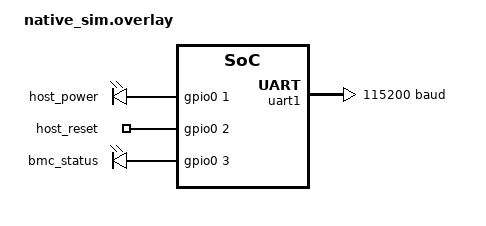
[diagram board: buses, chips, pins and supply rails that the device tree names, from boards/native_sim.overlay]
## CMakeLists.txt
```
# SPDX-FileCopyrightText: Copyright The Zephyr Project Contributors
# SPDX-License-Identifier: Apache-2.0

cmake_minimum_required(VERSION 3.20.0)

find_package(Zephyr REQUIRED HINTS $ENV{ZEPHYR_BASE})
project(bmc)

set(gen_dir ${ZEPHYR_BINARY_DIR}/include/generated)

target_sources(app PRIVATE src/main.c)
target_sources_ifdef(CONFIG_BMC_SENSORS app PRIVATE src/board.c)
target_sources_ifdef(CONFIG_BMC_REDFISH app PRIVATE src/redfish_product.c)
target_sources_ifdef(CONFIG_BMC_SAMPLE_WEB app PRIVATE src/webui.c)
target_sources_ifdef(CONFIG_BMC_SAMPLE_GENERATE_CERTS app PRIVATE src/tls.c)

# The firmware version reported over Redfish is the SHA of the tree the sample
# was built from, regenerated on every build so it cannot go stale.
find_package(Git QUIET)

set(git_sha_header ${gen_dir}/bmc_git_sha.h)
add_custom_target(bmc_git_sha ALL
  COMMAND ${CMAKE_COMMAND}
    -DGIT_EXECUTABLE=${GIT_EXECUTABLE}
    -DSOURCE_DIR=${ZEPHYR_BASE}
    -DOUTPUT_FILE=${git_sha_header}
    -P ${CMAKE_CURRENT_SOURCE_DIR}/cmake/gen_git_sha.cmake
  BYPRODUCTS ${git_sha_header}
  COMMENT "Generating the BMC git SHA header"
)
add_dependencies(app bmc_git_sha)

if(CONFIG_BMC_SAMPLE_WEB)
  foreach(web_resource IN ITEMS index.html logo.jpeg favicon.png)
    generate_inc_file_for_target(
      app
      web/${web_resource}
      ${gen_dir}/${web_resource}.gz.inc
      --gzip
    )
  endforeach()
endif()

# Browser libraries used by the dashboard. They are not redistributed with
# Zephyr, so the build picks them up from web/vendor/ once web/fetch_vendor.sh
# has downloaded them, and the dashboard degrades gracefully when they are
# missing. See web/README.md.
set(vendor_assets
  xterm.min.css
  xterm.min.js
  xterm-addon-attach.min.js
  xterm-addon-fit.min.js
  chart.umd.min.js
)

if(CONFIG_BMC_SAMPLE_WEB)
  set(vendor_dir ${CMAKE_CURRENT_SOURCE_DIR}/web/vendor)
  set(have_vendor_assets TRUE)

  foreach(asset IN LISTS vendor_assets)
    if(NOT EXISTS ${vendor_dir}/${asset})
      set(have_vendor_assets FALSE)
    endif()
  endforeach()

  if(have_vendor_assets)
    foreach(asset IN LISTS vendor_assets)
      generate_inc_file_for_target(
        app
        ${vendor_dir}/${asset}
        ${gen_dir}/${asset}.gz.inc
        --gzip
      )
    endforeach()
    zephyr_compile_definitions(BMC_SAMPLE_WEB_VENDOR_ASSETS=1)
  else()
    message(STATUS
      "BMC sample: web/vendor/ is incomplete, building the dashboard without "
      "the terminal and chart libraries. Run web/fetch_vendor.sh to get them, "
      "see web/README.md."
    )
  endif()
endif()

if(CONFIG_BMC_SAMPLE_GENERATE_CERTS)
  find_program(OPENSSL_EXECUTABLE openssl REQUIRED)
  find_program(BASH_EXECUTABLE bash REQUIRED)

  set(certs_dir ${CMAKE_CURRENT_BINARY_DIR}/generated_certs)
  set(server_cert_der ${certs_dir}/server_cert.der)
  set(server_privkey_der ${certs_dir}/server_privkey.der)

  add_custom_command(
    OUTPUT ${server_cert_der} ${server_privkey_der}
    COMMAND ${CMAKE_COMMAND} -E make_directory ${certs_dir}
    COMMAND ${BASH_EXECUTABLE} ${CMAKE_CURRENT_SOURCE_DIR}/certs/gen_ca_cert.sh
            ${OPENSSL_EXECUTABLE}
    COMMAND ${BASH_EXECUTABLE} ${CMAKE_CURRENT_SOURCE_DIR}/certs/gen_server_cert.sh
            ${OPENSSL_EXECUTABLE}
    WORKING_DIRECTORY ${certs_dir}
    DEPENDS
      ${CMAKE_CURRENT_SOURCE_DIR}/certs/gen_ca_cert.sh
      ${CMAKE_CURRENT_SOURCE_DIR}/certs/gen_server_cert.sh
    BYPRODUCTS
      ${certs_dir}/ca_cert.pem
      ${certs_dir}/ca_privkey.pem
      ${certs_dir}/ca.srl
      ${certs_dir}/server_cert.pem
      ${certs_dir}/server_privkey.pem
      ${certs_dir}/server_csr.pem
      ${certs_dir}/server_csr.ext
    COMMENT "Generating TLS certificates for the BMC sample"
    VERBATIM
  )

  add_custom_target(bmc_generate_certs DEPENDS ${server_cert_der} ${server_privkey_der})
  add_dependencies(app bmc_generate_certs)

  foreach(inc_file IN ITEMS server_cert.der server_privkey.der)
    generate_inc_file_for_target(app ${certs_dir}/${inc_file} ${gen_dir}/${inc_file}.inc)
  endforeach()
endif()
```

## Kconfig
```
# SPDX-FileCopyrightText: Copyright The Zephyr Project Contributors
# SPDX-License-Identifier: Apache-2.0

mainmenu "BMC sample"

config BMC_SAMPLE_WEB
	bool "Serve the product dashboard"
	default y
	depends on BMC_HTTP
	help
	  Attach the dashboard, its branding and the /webui/features endpoint
	  to the BMC HTTP services.

config BMC_SAMPLE_GENERATE_CERTS
	bool "Generate a self-signed TLS certificate at build time"
	default y
	depends on BMC_HTTPS
	select TLS_CREDENTIALS
	help
	  Run the scripts under certs/ to produce a throwaway server
	  certificate and register it under CONFIG_BMC_HTTPS_SEC_TAG. Requires
	  openssl and bash on the build host.

source "Kconfig.zephyr"
```

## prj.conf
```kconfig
# SPDX-FileCopyrightText: Copyright The Zephyr Project Contributors
# SPDX-License-Identifier: Apache-2.0

CONFIG_BMC=y
CONFIG_BMC_NTP=n
CONFIG_BMC_HTTPS=n

CONFIG_LOG=y
CONFIG_MAIN_STACK_SIZE=4096

# The BMC shell, reachable over the serial console and, for the dashboard,
# over a websocket at /console/bmc. The BMC authenticates the websocket client
# before it hands the session to the shell.
CONFIG_SHELL=y
CONFIG_SHELL_BACKEND_WEBSOCKET=y
CONFIG_SHELL_WEBSOCKET_PROMPT="bmc:~$ "

# Let the websocket shell print the log messages itself, the way the serial
# shell does, instead of handing the socket to the websocket log backend.
CONFIG_LOG_BACKEND_WS=n

# Persist the runtime configuration. The BMC only asks for the settings
# subsystem, so the backend is the application's choice; here it is NVS on the
# board's storage partition.
CONFIG_SETTINGS=y
CONFIG_FLASH=y
CONFIG_FLASH_MAP=y
CONFIG_NVS=y

CONFIG_GPIO=y

CONFIG_NETWORKING=y
CONFIG_NET_IPV4=y
CONFIG_NET_IPV6=y
CONFIG_NET_TCP=y
CONFIG_NET_SOCKETS=y
CONFIG_NET_MGMT=y
CONFIG_NET_MGMT_EVENT=y
CONFIG_NET_DHCPV4=y
CONFIG_NET_CONFIG_AUTO_INIT=n

CONFIG_POSIX_API=y
CONFIG_EVENTFD=y

# Networking resources the BMC services need. These live in the application
# rather than in the subsystem Kconfig, because the right numbers depend on how
# many clients a product expects.
CONFIG_NET_BUF_RX_COUNT=128
CONFIG_NET_BUF_TX_COUNT=128
CONFIG_NET_PKT_RX_COUNT=16
CONFIG_NET_PKT_TX_COUNT=16
CONFIG_NET_CONTEXT_NET_PKT_POOL=y
CONFIG_ZVFS_EVENTFD_MAX=10
CONFIG_ZVFS_POLL_MAX=32
CONFIG_NET_MAX_CONTEXTS=32
CONFIG_NET_MAX_CONN=32

# The dashboard holds a websocket open for the host console and one for the
# shell, and still needs slots for its Redfish requests.
CONFIG_WEBSOCKET_MAX_CONTEXTS=3
CONFIG_HTTP_SERVER_MAX_CLIENTS=4
CONFIG_NET_CONTEXT_RCVTIMEO=y
CONFIG_NET_TCP_TIME_WAIT_DELAY=0
CONFIG_NET_TCP_RETRY_COUNT=3
CONFIG_NET_TCP_INIT_RETRANSMISSION_TIMEOUT=120
CONFIG_NET_TCP_MAX_RECV_WINDOW_SIZE=20480

CONFIG_SYSTEM_WORKQUEUE_STACK_SIZE=2048
CONFIG_SHELL_STACK_SIZE=4096
CONFIG_HTTP_SERVER_STACK_SIZE=4096

# Long enough for a Basic authentication header.
CONFIG_HTTP_SERVER_MAX_HEADER_LEN=64

CONFIG_BMC_DEFAULT_ADMIN_PASSWORD="admin"

# Network address config
CONFIG_NET_CONFIG_MY_IPV4_ADDR="192.0.2.1"
CONFIG_NET_CONFIG_MY_IPV4_NETMASK="255.255.255.0"
CONFIG_NET_CONFIG_MY_IPV4_GW="192.0.2.2"
CONFIG_NET_CONFIG_MY_IPV6_ADDR="2001:db8::1"
```

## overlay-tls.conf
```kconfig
# TLS configuration
CONFIG_MBEDTLS=y
CONFIG_MBEDTLS_ENABLE_HEAP=y
CONFIG_MBEDTLS_HEAP_SIZE=60000
CONFIG_MBEDTLS_SSL_IN_CONTENT_LEN=2048
CONFIG_MBEDTLS_SSL_OUT_CONTENT_LEN=2048
CONFIG_NET_SOCKETS_SOCKOPT_TLS=y
CONFIG_NET_SOCKETS_TLS_MAX_CONTEXTS=6
CONFIG_TLS_CREDENTIALS=y
CONFIG_TLS_MAX_CREDENTIALS_NUMBER=5

CONFIG_MBEDTLS_CIPHERSUITE_TLS_ECDHE_ECDSA_WITH_AES_128_GCM_SHA256=y
CONFIG_PSA_WANT_KEY_TYPE_ECC_KEY_PAIR_DERIVE=y
CONFIG_MBEDTLS_PK_WRITE_C=y

CONFIG_MBEDTLS_PSA_KEY_SLOT_COUNT=64
```

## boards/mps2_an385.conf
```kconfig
# SPDX-FileCopyrightText: Copyright The Zephyr Project Contributors
# SPDX-License-Identifier: Apache-2.0

# The CMSDK UART on mps2/an385 does not support the async API the host console
# capture needs.
CONFIG_BMC_CONSOLE_LOGGER=n
```

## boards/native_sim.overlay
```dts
/*
 * SPDX-FileCopyrightText: Copyright The Zephyr Project Contributors
 * SPDX-License-Identifier: Apache-2.0
 */

/ {
	aliases {
		host-console-uart = &uart1;
		bmc-host-power = &host_power;
		bmc-host-reset = &host_reset;
		bmc-status-led = &bmc_status;
	};

	/*
	 * On real hardware these are the BMC pins wired to the host power
	 * button, its reset line and a status indicator. Here they are just
	 * emulated GPIOs so the sample can be exercised on the host.
	 */
	bmc_gpios {
		compatible = "gpio-leds";

		host_power: host_power {
			gpios = <&gpio0 1 GPIO_ACTIVE_HIGH>;
		};

		host_reset: host_reset {
			gpios = <&gpio0 2 GPIO_ACTIVE_HIGH>;
		};

		bmc_status: bmc_status {
			gpios = <&gpio0 3 GPIO_ACTIVE_HIGH>;
		};
	};
};

&uart1 {
	current-speed = <115200>;
	status = "okay";
};
```

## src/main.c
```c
/*
 * SPDX-FileCopyrightText: Copyright The Zephyr Project Contributors
 * SPDX-License-Identifier: Apache-2.0
 */

#include <zephyr/kernel.h>
#include <zephyr/logging/log.h>
#include <zephyr/mgmt/bmc.h>

LOG_MODULE_REGISTER(bmc_sample, LOG_LEVEL_INF);

int main(void)
{
	int ret;

	LOG_INF("Starting BMC sample");

	ret = bmc_init();
	if (ret != 0) {
		LOG_ERR("BMC init failed (%d)", ret);
		return ret;
	}

	LOG_INF("BMC sample is running");

	for (;;) {
		k_sleep(K_FOREVER);
	}
}
```

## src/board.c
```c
/*
 * Board glue for the BMC sample.
 *
 * This is the file a product would adapt first: it publishes the sensors the
 * board carries and, when the host cannot be driven over plain GPIOs, replaces
 * the built-in host control backend.
 *
 * SPDX-FileCopyrightText: Copyright The Zephyr Project Contributors
 * SPDX-License-Identifier: Apache-2.0
 */

#include <zephyr/kernel.h>
#include <zephyr/logging/log.h>
#include <zephyr/mgmt/bmc.h>
#include <zephyr/mgmt/bmc/host.h>
#include <zephyr/mgmt/bmc/sensor.h>

LOG_MODULE_DECLARE(bmc_sample, LOG_LEVEL_INF);

#if DT_NODE_HAS_STATUS_OKAY(DT_ALIAS(bmc_die_temp))
/*
 * A sensor backed by a Zephyr sensor device only needs the devicetree node and
 * the Redfish metadata; the BMC samples it on demand.
 */
BMC_SENSOR_DT_DEFINE(sensor_die_temp, DT_ALIAS(bmc_die_temp), SENSOR_CHAN_DIE_TEMP, "TempBmc",
		     "BMC Die Temperature", "Temperature", "Cel");
#endif

/*
 * A sensor that is not a Zephyr sensor device is just as easy: supply a read
 * callback. This one reports how long the BMC has been up.
 */
static int uptime_read(const struct bmc_sensor *sensor, struct sensor_value *val)
{
	ARG_UNUSED(sensor);

	val->val1 = (int32_t)(k_uptime_get() / MSEC_PER_SEC);
	val->val2 = 0;

	return 0;
}

BMC_SENSOR_DEFINE(sensor_uptime, .id = "Uptime", .name = "BMC Uptime", .reading_type = "Duration",
		  .units = "s", .physical_context = "ManagementController", .read = uptime_read);

#if !defined(CONFIG_BMC_HOST_GPIO)
/*
 * Without host GPIOs the sample still answers power queries, so that the
 * dashboard and the Redfish resources have something to show. A real product
 * would talk to its host here instead.
 */
static bool host_powered;

static int sim_host_power_set(bool on)
{
	LOG_INF("Host power %s", on ? "on" : "off");
	host_powered = on;

	return 0;
}

static int sim_host_power_get(bool *on)
{
	*on = host_powered;

	return 0;
}

static int sim_host_reset(void)
{
	LOG_INF("Host reset");

	return 0;
}

static const struct bmc_host_ops sim_host_ops = {
	.power_set = sim_host_power_set,
	.power_get = sim_host_power_get,
	.reset = sim_host_reset,
};

static int board_host_init(void)
{
	return bmc_host_ops_register(&sim_host_ops);
}

BMC_COMPONENT_DEFINE(sample_host, BMC_INIT_PHASE_PLATFORM, board_host_init, false);
#endif /* !CONFIG_BMC_HOST_GPIO */
```

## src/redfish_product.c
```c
/*
 * Product identity and an OEM Redfish resource.
 *
 * The BMC core carries no product strings: what a client sees in
 * /redfish/v1/Systems/system comes from the identity registered here, and
 * vendor specific data is added through the OEM hook and extra resources.
 *
 * SPDX-FileCopyrightText: Copyright The Zephyr Project Contributors
 * SPDX-License-Identifier: Apache-2.0
 */

#include <zephyr/kernel.h>
#include <zephyr/logging/log.h>
#include <zephyr/mgmt/bmc.h>
#include <zephyr/mgmt/bmc/redfish.h>
#include <zephyr/version.h>

#include "bmc_git_sha.h"

LOG_MODULE_DECLARE(bmc_sample, LOG_LEVEL_INF);

static const struct bmc_redfish_identity product_identity = {
	.product_name = "Zephyr BMC Reference Board",
	.manufacturer = "Zephyr Project",
	.model = "bmc-sample",
	.serial_number = "0000000001",
	.firmware_version = BMC_GIT_SHA,
	.processor_model = "Emulated",
	.processor_count = 1,
	.memory_gib = 4,
};

static int product_identity_init(void)
{
	bmc_redfish_identity_register(&product_identity);

	return 0;
}

/* Ahead of BMC_INIT_PHASE_PLATFORM, so the core never installs its defaults. */
BMC_COMPONENT_DEFINE(sample_identity, BMC_INIT_PHASE_STORAGE, product_identity_init, false);

/*
 * Vendor extension appended to the standard Manager resource. The encoder runs
 * while the resource object is still open, so it can only add members.
 */
struct product_manager_oem {
	const char *build;
};

static const struct json_obj_descr product_manager_oem_descr[] = {
	JSON_OBJ_DESCR_PRIM_NAMED(struct product_manager_oem, "Build", build, JSON_TOK_STRING),
};

static int product_manager_oem_encode(struct bmc_redfish_ctx *ctx)
{
	const struct product_manager_oem oem = {
		.build = BMC_GIT_SHA,
	};

	return bmc_redfish_reply_add_member(ctx, "Oem", product_manager_oem_descr,
					    ARRAY_SIZE(product_manager_oem_descr), &oem);
}

BMC_REDFISH_OEM_DEFINE(product_manager_oem, BMC_REDFISH_OEM_MANAGER,
		       product_manager_oem_encode);

/*
 * A whole resource of its own, published next to the standard tree. Downstream
 * products use the same macro the BMC core uses for its own resources.
 */
struct product_info {
	const char *odata_id;
	const char *odata_type;
	const char *id;
	const char *name;
	const char *zephyr_version;
};

static const struct json_obj_descr product_info_descr[] = {
	JSON_OBJ_DESCR_PRIM_NAMED(struct product_info, "@odata.id", odata_id, JSON_TOK_STRING),
	JSON_OBJ_DESCR_PRIM_NAMED(struct product_info, "@odata.type", odata_type,
				  JSON_TOK_STRING),
	JSON_OBJ_DESCR_PRIM_NAMED(struct product_info, "Id", id, JSON_TOK_STRING),
	JSON_OBJ_DESCR_PRIM_NAMED(struct product_info, "Name", name, JSON_TOK_STRING),
	JSON_OBJ_DESCR_PRIM_NAMED(struct product_info, "ZephyrVersion", zephyr_version,
				  JSON_TOK_STRING),
};

static int product_info_get(struct bmc_redfish_ctx *ctx)
{
	const struct product_info info = {
		.odata_id = "/redfish/v1/Oem/Zephyr",
		.odata_type = "#ZephyrOem.v1_0_0.ZephyrOem",
		.id = "Zephyr",
		.name = "Zephyr Project Information",
		.zephyr_version = KERNEL_VERSION_STRING,
	};

	if (bmc_redfish_reply_encode(ctx, product_info_descr, ARRAY_SIZE(product_info_descr),
				     &info) < 0) {
		return HTTP_500_INTERNAL_SERVER_ERROR;
	}

	return 0;
}

BMC_REDFISH_RESOURCE_DEFINE(product_info, "/redfish/v1/Oem/Zephyr", true, product_info_get, NULL,
			    NULL);
```

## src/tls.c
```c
/*
 * TLS credentials for the BMC HTTPS service.
 *
 * The BMC core never owns keys: it only knows the security tag configured with
 * CONFIG_BMC_HTTPS_SEC_TAG, and the application fills that tag before
 * bmc_init() starts the servers. A real product would load the certificate
 * from its own secure storage instead of building it in.
 *
 * Copyright (c) 2023 Nordic Semiconductor ASA
 *
 * SPDX-FileCopyrightText: Copyright The Zephyr Project Contributors
 * SPDX-License-Identifier: Apache-2.0
 */

#include <zephyr/kernel.h>
#include <zephyr/logging/log.h>
#include <zephyr/mgmt/bmc.h>
#include <zephyr/net/tls_credentials.h>

LOG_MODULE_DECLARE(bmc_sample, LOG_LEVEL_INF);

static const unsigned char server_certificate[] = {
#include "server_cert.der.inc"
};

/* In pkcs#8 format. */
static const unsigned char private_key[] = {
#include "server_privkey.der.inc"
};

static int tls_credentials_init(void)
{
	int ret;

	ret = tls_credential_add(CONFIG_BMC_HTTPS_SEC_TAG, TLS_CREDENTIAL_PUBLIC_CERTIFICATE,
				 server_certificate, sizeof(server_certificate));
	if (ret < 0) {
		LOG_ERR("Could not register the server certificate (err=%d)", ret);
		return ret;
	}

	ret = tls_credential_add(CONFIG_BMC_HTTPS_SEC_TAG, TLS_CREDENTIAL_PRIVATE_KEY, private_key,
				 sizeof(private_key));
	if (ret < 0) {
		LOG_ERR("Could not register the server private key (err=%d)", ret);
		return ret;
	}

	return 0;
}

/* Before the HTTP services start in BMC_INIT_PHASE_SERVICE. */
BMC_COMPONENT_DEFINE(sample_tls, BMC_INIT_PHASE_STORAGE, tls_credentials_init, false);
```

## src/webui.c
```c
/*
 * The product dashboard. Everything here is policy: the pages, the branding
 * and the feature advertisement are attached to the BMC HTTP services from the
 * application, without the BMC core knowing about them.
 *
 * Copyright (c) 2023, Emna Rekik
 * Copyright (c) 2024, Nordic Semiconductor
 *
 * SPDX-FileCopyrightText: Copyright (c) 2025-2026 Tenstorrent USA, Inc.
 * SPDX-FileCopyrightText: Copyright The Zephyr Project Contributors
 * SPDX-License-Identifier: Apache-2.0
 */

#include <zephyr/kernel.h>
#include <zephyr/logging/log.h>
#include <zephyr/mgmt/bmc/http.h>
#include <zephyr/net/http/server.h>
#include <zephyr/net/http/service.h>

LOG_MODULE_REGISTER(bmc_webui, LOG_LEVEL_INF);

static const uint8_t index_html_gz[] = {
#include "index.html.gz.inc"
};

static struct http_resource_detail_static index_html_detail = {
	.common = {
		.type = HTTP_RESOURCE_TYPE_STATIC,
		.bitmask_of_supported_http_methods = BIT(HTTP_GET),
		.content_encoding = "gzip",
		.content_type = "text/html",
	},
	.static_data = index_html_gz,
	.static_data_len = sizeof(index_html_gz),
};

BMC_HTTP_RESOURCE_DEFINE(webui_index, "/", &index_html_detail);

static const uint8_t logo_jpeg_gz[] = {
#include "logo.jpeg.gz.inc"
};

static struct http_resource_detail_static logo_jpeg_detail = {
	.common = {
		.type = HTTP_RESOURCE_TYPE_STATIC,
		.bitmask_of_supported_http_methods = BIT(HTTP_GET),
		.content_encoding = "gzip",
		.content_type = "image/jpeg",
	},
	.static_data = logo_jpeg_gz,
	.static_data_len = sizeof(logo_jpeg_gz),
};

BMC_HTTP_RESOURCE_DEFINE(webui_logo, "/logo.jpeg", &logo_jpeg_detail);

static const uint8_t favicon_png_gz[] = {
#include "favicon.png.gz.inc"
};

static struct http_resource_detail_static favicon_png_detail = {
	.common = {
		.type = HTTP_RESOURCE_TYPE_STATIC,
		.bitmask_of_supported_http_methods = BIT(HTTP_GET),
		.content_encoding = "gzip",
		.content_type = "image/png",
	},
	.static_data = favicon_png_gz,
	.static_data_len = sizeof(favicon_png_gz),
};

BMC_HTTP_RESOURCE_DEFINE(webui_favicon, "/favicon.png", &favicon_png_detail);

#if defined(BMC_SAMPLE_WEB_VENDOR_ASSETS)
/*
 * The browser libraries the dashboard uses are served from the BMC rather than
 * from a CDN, so that it also works on an isolated management network. They
 * are an optional build input, see web/README.md.
 */
#define WEBUI_VENDOR_RESOURCE(_sym, _url, _content_type)                                           \
	static struct http_resource_detail_static _sym##_detail = {                                \
		.common = {                                                                        \
			.type = HTTP_RESOURCE_TYPE_STATIC,                                         \
			.bitmask_of_supported_http_methods = BIT(HTTP_GET),                        \
			.content_encoding = "gzip",                                                \
			.content_type = _content_type,                                             \
		},                                                                                 \
		.static_data = _sym##_gz,                                                          \
		.static_data_len = sizeof(_sym##_gz),                                              \
	};                                                                                         \
	BMC_HTTP_RESOURCE_DEFINE(_sym, _url, &_sym##_detail)

static const uint8_t webui_xterm_css_gz[] = {
#include "xterm.min.css.gz.inc"
};
WEBUI_VENDOR_RESOURCE(webui_xterm_css, "/vendor/xterm.min.css", "text/css");

static const uint8_t webui_xterm_js_gz[] = {
#include "xterm.min.js.gz.inc"
};
WEBUI_VENDOR_RESOURCE(webui_xterm_js, "/vendor/xterm.min.js", "text/javascript");

static const uint8_t webui_xterm_attach_js_gz[] = {
#include "xterm-addon-attach.min.js.gz.inc"
};
WEBUI_VENDOR_RESOURCE(webui_xterm_attach_js, "/vendor/xterm-addon-attach.min.js",
		      "text/javascript");

static const uint8_t webui_xterm_fit_js_gz[] = {
#include "xterm-addon-fit.min.js.gz.inc"
};
WEBUI_VENDOR_RESOURCE(webui_xterm_fit_js, "/vendor/xterm-addon-fit.min.js", "text/javascript");

static const uint8_t webui_chart_js_gz[] = {
#include "chart.umd.min.js.gz.inc"
};
WEBUI_VENDOR_RESOURCE(webui_chart_js, "/vendor/chart.umd.min.js", "text/javascript");
#endif /* BMC_SAMPLE_WEB_VENDOR_ASSETS */

#if defined(CONFIG_BMC_CONSOLE_BRIDGE_WS)
#define WEBUI_HOST_CONSOLE "true"
#else
#define WEBUI_HOST_CONSOLE "false"
#endif

#if defined(CONFIG_SHELL_BACKEND_WEBSOCKET)
#define WEBUI_BMC_SHELL "true"
#else
#define WEBUI_BMC_SHELL "false"
#endif

/*
 * The dashboard asks which optional consoles this build carries so that it can
 * hide the tabs it cannot use. Both answers are known at build time, so the
 * body is a constant and no per-request buffer is needed.
 */
static const char webui_features_json[] =
	"{\"hostConsole\":" WEBUI_HOST_CONSOLE ",\"bmcShell\":" WEBUI_BMC_SHELL "}";

static int webui_features_handler(struct http_client_ctx *client,
				  enum http_transaction_status status,
				  const struct http_request_ctx *request_ctx,
				  struct http_response_ctx *response_ctx, void *user_data)
{
	ARG_UNUSED(client);
	ARG_UNUSED(request_ctx);
	ARG_UNUSED(user_data);

	if (status != HTTP_SERVER_REQUEST_DATA_FINAL) {
		return 0;
	}

	response_ctx->status = HTTP_200_OK;
	response_ctx->body = webui_features_json;
	response_ctx->body_len = sizeof(webui_features_json) - 1;
	response_ctx->final_chunk = true;

	return 0;
}

static struct http_resource_detail_dynamic webui_features_detail = {
	.common = {
		.type = HTTP_RESOURCE_TYPE_DYNAMIC,
		.bitmask_of_supported_http_methods = BIT(HTTP_GET),
		.content_type = "application/json",
	},
	.cb = webui_features_handler,
	.user_data = NULL,
};

BMC_HTTP_RESOURCE_DEFINE(webui_features, "/webui/features", &webui_features_detail);
```
